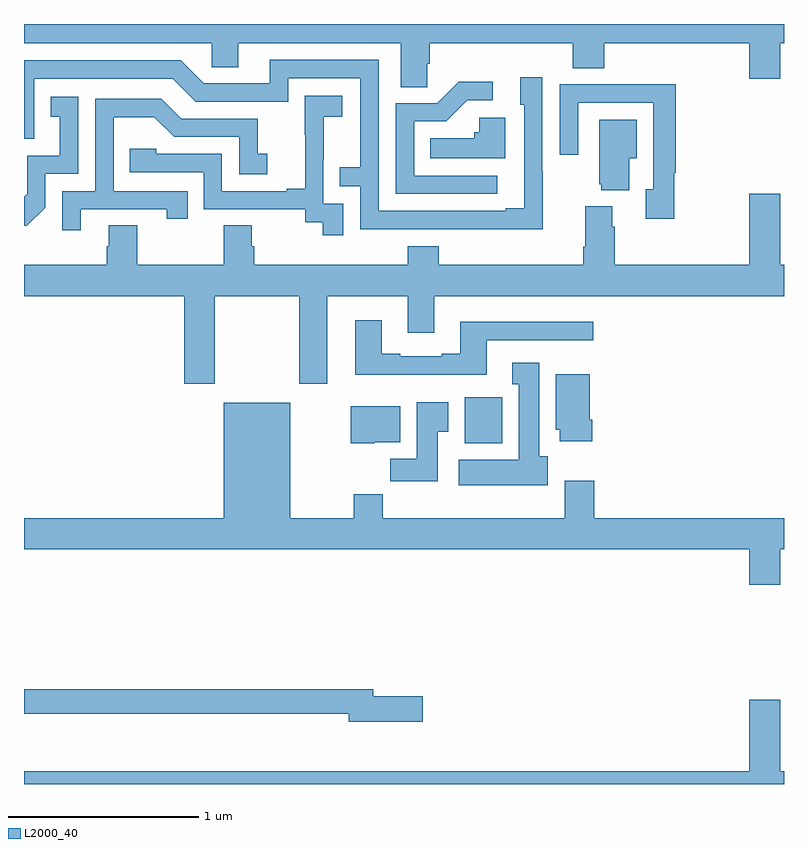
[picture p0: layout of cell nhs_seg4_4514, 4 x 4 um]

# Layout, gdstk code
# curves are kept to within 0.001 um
import gdstk
lib = gdstk.Library(unit=1e-6, precision=1e-09)
def R(c, l, rs):  # rectangles x0, y0, x1, y1
    for r in rs: c.add(gdstk.rectangle(r[:2], r[2:], *l))
def P(c, l, *ps):  # polygons
    for p in ps: c.add(gdstk.Polygon(p, *l))
L2000_40 = (2000, 40)

nhs_seg4_4514 = lib.new_cell('nhs_seg4_4514')
R(nhs_seg4_4514, L2000_40, [(355.319,814.694,355.516,814.936)])
P(nhs_seg4_4514, L2000_40, [(355.122,816.691),(355.136,816.691),(355.136,816.8),(355.889,816.8),(355.889,816.667),(356.054,816.667),(356.054,816.8),(356.816,816.8),(356.816,816.612),(356.98,816.612),(356.98,816.8),(357,816.8),(357,816.9),(353,816.9),(353,816.8),(353.988,816.8),(353.988,816.673),(354.127,816.673),(354.127,816.8),(354.983,816.8),(354.983,816.568),(355.122,816.568)],
  [(355.731,816.125),(355.728,816.125),(355.728,816.619),(355.613,816.619),(355.613,816.474),(355.632,816.474),(355.632,815.929),(355.535,815.929),(355.535,815.916),(354.867,815.916),(354.867,816.711),(354.293,816.711),(354.293,816.588),(353.946,816.588),(353.826,816.708),(353,816.708),(353,816.297),(353.055,816.297),(353.055,816.612),(353.784,816.612),(353.904,816.492),(354.39,816.492),(354.39,816.615),(354.771,816.615),(354.771,816.146),(354.661,816.146),(354.661,816.045),(354.771,816.045),(354.771,815.82),(355.731,815.819)],
  [(355.492,816.102),(355.053,816.102),(355.053,816.387),(355.222,816.387),(355.333,816.498),(355.468,816.498),(355.468,816.596),(355.289,816.596),(355.176,816.483),(354.957,816.483),(354.957,816.006),(355.492,816.006)],
  [(356.422,816.118),(356.429,816.118),(356.429,816.584),(356.137,816.584),(356.137,816.582),(355.821,816.582),(355.821,816.213),(355.917,816.213),(355.917,816.486),(356.313,816.486),(356.313,816.03),(356.273,816.03),(356.273,815.874),(356.422,815.874)],
  [(354.681,815.955),(354.576,815.955),(354.576,816.185),(354.578,816.185),(354.578,816.413),(354.676,816.413),(354.676,816.523),(354.478,816.523),(354.478,816.317),(354.479,816.317),(354.479,816.034),(354.383,816.034),(354.383,816.021),(354.042,816.021),(354.042,816.216),(353.697,816.216),(353.697,816.243),(353.557,816.243),(353.557,816.12),(353.946,816.12),(353.946,815.925),(354.48,815.925),(354.48,815.857),(354.573,815.857),(354.573,815.787),(354.681,815.787)],
  [(353.112,815.934),(353.112,816.111),(353.286,816.111),(353.286,816.517),(353.14,816.517),(353.14,816.411),(353.189,816.411),(353.189,816.207),(353.016,816.207),(353.016,816.006),(353,815.99),(353,815.837),(353.014,815.837)],
  [(353.299,815.925),(353.75,815.925),(353.75,815.874),(353.861,815.874),(353.861,816.021),(353.472,816.021),(353.472,816.41),(353.686,816.41),(353.79,816.306),(354.132,816.306),(354.132,816.108),(354.28,816.108),(354.28,816.217),(354.231,816.217),(354.231,816.402),(353.827,816.402),(353.722,816.507),(353.376,816.507),(353.376,816.021),(353.202,816.021),(353.202,815.814),(353.299,815.814)],
  [(355.534,816.406),(355.395,816.406),(355.395,816.33),(355.369,816.33),(355.369,816.298),(355.138,816.298),(355.138,816.194),(355.534,816.194)],
  [(356.185,816.194),(356.224,816.194),(356.224,816.397),(356.027,816.397),(356.027,816.057),(356.039,816.057),(356.039,816.026),(356.185,816.026)],
  [(354.003,815.468),(354.448,815.468),(354.448,815.007),(354.595,815.007),(354.595,815.468),(355.019,815.468),(355.019,815.274),(355.159,815.274),(355.159,815.468),(357,815.468),(357,815.632),(356.98,815.632),(356.98,816.007),(356.816,816.007),(356.816,815.632),(356.108,815.632),(356.108,815.834),(356.095,815.834),(356.095,815.941),(355.955,815.941),(355.955,815.728),(355.943,815.728),(355.943,815.632),(355.184,815.632),(355.184,815.731),(355.019,815.731),(355.019,815.632),(354.212,815.632),(354.212,815.73),(354.199,815.73),(354.199,815.84),(354.052,815.84),(354.052,815.632),(353.595,815.632),(353.595,815.84),(353.447,815.84),(353.447,815.73),(353.435,815.73),(353.435,815.632),(353,815.632),(353,815.468),(353.843,815.468),(353.843,815.007),(354.003,815.007)],
  [(355.435,815.235),(355.996,815.235),(355.996,815.332),(355.295,815.332),(355.295,815.164),(355.199,815.164),(355.199,815.151),(354.979,815.151),(354.979,815.164),(354.883,815.164),(354.883,815.341),(354.743,815.341),(354.743,815.054),(355.435,815.054)],
  [(355.756,814.626),(355.711,814.626),(355.711,815.116),(355.571,815.116),(355.571,815.003),(355.604,815.003),(355.604,814.606),(355.287,814.606),(355.287,814.472),(355.756,814.472)],
  [(355.991,814.816),(355.978,814.816),(355.978,815.056),(355.799,815.056),(355.799,814.764),(355.82,814.764),(355.82,814.704),(355.991,814.704)],
  [(355.177,814.753),(355.234,814.753),(355.234,814.909),(355.067,814.909),(355.067,814.612),(354.928,814.612),(354.928,814.494),(355.177,814.494)],
  [(356.98,814.136),(357,814.136),(357,814.3),(356,814.3),(356,814.495),(355.847,814.495),(355.847,814.3),(354.887,814.3),(354.887,814.424),(354.736,814.424),(354.736,814.3),(354.4,814.3),(354.4,814.906),(354.05,814.906),(354.05,814.3),(353,814.3),(353,814.136),(356.816,814.136),(356.816,813.948),(356.98,813.948)],
  [(354.846,814.7),(354.979,814.7),(354.979,814.888),(354.721,814.888),(354.721,814.694),(354.846,814.694)],
  [(355.099,813.362),(354.838,813.362),(354.838,813.398),(353,813.398),(353,813.27),(354.71,813.27),(354.71,813.227),(355.099,813.227)],
  [(357,812.968),(356.98,812.968),(356.98,813.343),(356.816,813.343),(356.816,812.968),(353,812.968),(353,812.9),(357,812.9)])

lib.write_gds('nhs_seg4_4514.gds')
